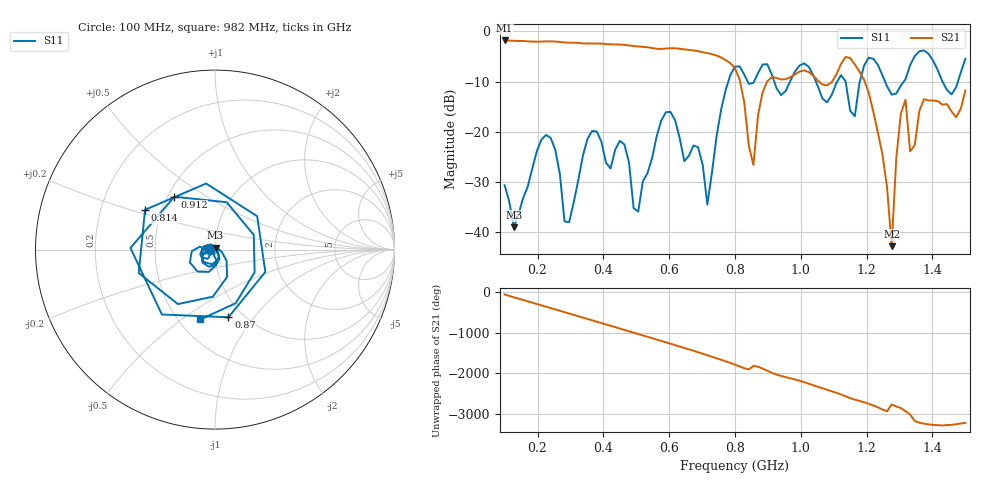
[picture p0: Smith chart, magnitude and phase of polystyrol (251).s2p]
! NanoVNA-App
! Date: 2025-09-25 15:31:50
! Start: 100MHz Stop: 1,5GHz Points: 101
! S-Parameter data: F S11 S21 S12 S22
# Hz S RI R 50
!  Frequency  S11_Real  S11_Imag  S21_Real  S21_Imag  S12_Real  S12_Imag  S22_Real  S22_Imag
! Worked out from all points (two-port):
!   101 points, 100 MHz to 1.5 GHz, reference 50 ohm
!   highest |S21| = -1.80 dB at 100 MHz (marker M1); lowest = -42.9 dB at 1.276 GHz (marker M2)
!   |S21| within 3 dB of the highest: start of sweep to 743 MHz
!   lowest |S11| = -39.1 dB at 128 MHz (marker M3), VSWR 1.02, Z = 50.3 + j1.06 ohm
!   |S11| at or under -10 dB: start of sweep to 779.7 MHz; 1.046 GHz to 1.111 GHz (65.05 MHz wide, 6.03 % of centre); 1.256 GHz to 1.313 GHz (57.04 MHz wide, 4.44 % of centre) (the widest 3 of 7)
!   S12 and S22 are empty: the file has one direction only
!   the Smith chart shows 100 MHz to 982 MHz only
!   S11 on the Smith chart (normalised r, x): 100 MHz: 0.94, -0.01; 814 MHz: 0.40, +0.22; 870 MHz: 0.85, -0.76; 912 MHz: 0.54, +0.37; 982 MHz: 0.64, -0.59
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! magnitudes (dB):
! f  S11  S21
! 100 MHz  -30.7  -1.8
! 128 MHz  -39.1  -1.9
! 212 MHz  -21.6  -2.0
! 282 MHz  -37.9  -2.2
! 338 MHz  -24.8  -2.4
! 464 MHz  -22.6  -2.7
! 506 MHz  -36.0  -3.0
! 576 MHz  -17.8  -3.5
! 716 MHz  -34.5  -4.3
! 800 MHz  -7.0  -7.4
! 814 MHz  -7.0  -9.6
! 856 MHz  -10.3  -26.7
! 870 MHz  -8.3  -16.7
! 912 MHz  -8.6  -9.1
! 982 MHz  -8.0  -8.6
! 1.038 GHz  -8.8  -8.9
! 1.164 GHz  -16.9  -6.6
! 1.192 GHz  -6.8  -9.6
! 1.276 GHz  -12.6  -42.9
! 1.318 GHz  -9.6  -13.6
! 1.332 GHz  -6.7  -23.9
! 1.5 GHz  -5.5  -11.8
